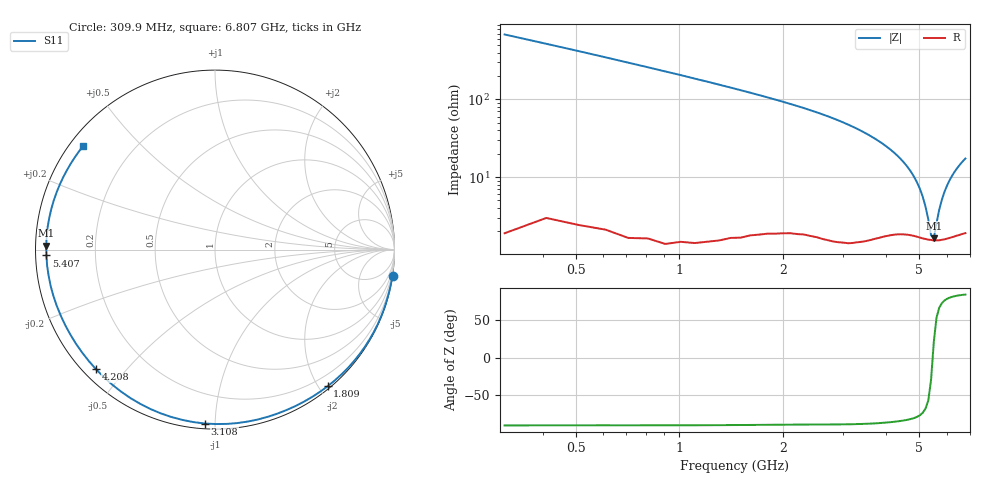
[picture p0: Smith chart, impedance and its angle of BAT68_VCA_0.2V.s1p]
! Infineon Technologies  Discrete & RF Semiconductors
! BAT68
! VCA = 0.2 V
! One-Port S-Parameters
# Hz  S  MA  R  50
!f  S11
!Hz  Mag  Ang
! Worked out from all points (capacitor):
!   66 points, 309.9 MHz to 6.807 GHz, reference 50 ohm
!   read as one part to ground: C = 743 fF near 309.9 MHz
!   lowest |Z| = 1.63 ohm at 5.507 GHz (marker M1)
!   series resonance near 5.467 GHz, so ESL is about 1.1 nH
!   S11 on the Smith chart (normalised r, x): 309.9 MHz: 0, -14; 1.809 GHz: 0.04, -2.12; 3.108 GHz: 0.03, -0.94; 4.208 GHz: 0.04, -0.42; 5.407 GHz: 0.03, -0.02; 6.807 GHz: 0.04, +0.34
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3.0985e8  0.9996 -8.3
6.097e8  0.9983 -16.3
8.096e8  0.9977 -21.8
1.0095e9  0.9967 -27.3
1.2094e9  0.9952 -33.0
1.50925e9  0.9916 -41.7
1.8091e9  0.9865 -50.5
2.009e9  0.9832 -56.6
2.2089e9  0.9802 -62.8
2.4088e9  0.9777 -69.2
2.6087e9  0.9762 -75.8
2.8086e9  0.9745 -82.6
3.10845e9  0.9707 -93.4
3.30835e9  0.9662 -100.7
3.6082e9  0.9583 -112.1
3.90805e9  0.9486 -123.5
4.2079e9  0.9401 -134.8
4.4078e9  0.9364 -142.3
4.6077e9  0.9346 -149.6
4.8076e9  0.9348 -156.9
5.0075e9  0.9366 -164.0
5.2074e9  0.9384 -171.1
5.4073e9  0.9398 -178.0
5.50725e9  0.9408 178.7
5.70715e9  0.9408 172.2
6.007e9  0.939 163.0
6.4068e9  0.9361 151.9
6.8066e9  0.9344 141.9
